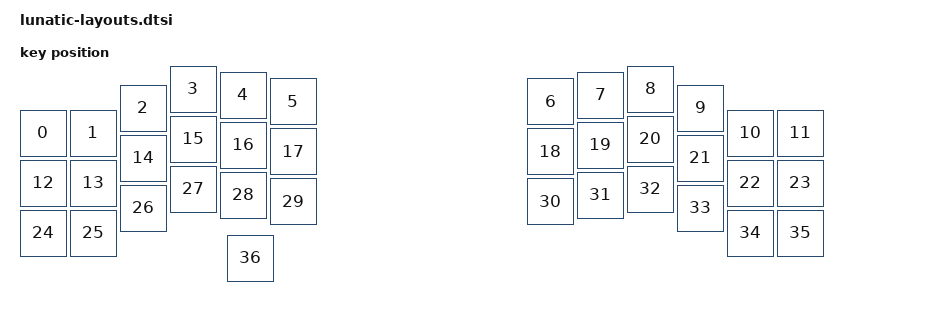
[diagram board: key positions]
#include <physical_layouts.dtsi>

/ {
    physical_layout: physical_layout_0 {
        compatible = "zmk,physical-layout";
        display-name = "lunatic";

        // kscan = <&kscan0>;
        // transform = <&matrix_transform0>;

        studio-config {
        compatible = "zmk,studio-config";
        };

        keys  //                     w   h    x    y     rot    rx    ry
            = <&key_physical_attrs 100 100    0   88       0     0    88>
            , <&key_physical_attrs 100 100  100   88       0   100    88>
            , <&key_physical_attrs 100 100  200   38       0   200    38>
            , <&key_physical_attrs 100 100  300    0       0   300     0>
            , <&key_physical_attrs 100 100  400   12       0   400    12>
            , <&key_physical_attrs 100 100  500   25       0   500    25>
            , <&key_physical_attrs 100 100 1015   25       0  1015    25>
            , <&key_physical_attrs 100 100 1115   12       0  1115    12>
            , <&key_physical_attrs 100 100 1215    0       0  1215     0>
            , <&key_physical_attrs 100 100 1315   38       0  1315    38>
            , <&key_physical_attrs 100 100 1415   88       0  1415    88>
            , <&key_physical_attrs 100 100 1515   88       0  1515    88>
            , <&key_physical_attrs 100 100    0  188       0     0   188>
            , <&key_physical_attrs 100 100  100  188       0   100   188>
            , <&key_physical_attrs 100 100  200  138       0   200   138>
            , <&key_physical_attrs 100 100  300  100       0   300   100>
            , <&key_physical_attrs 100 100  400  112       0   400   112>
            , <&key_physical_attrs 100 100  500  125       0   500   125>
            , <&key_physical_attrs 100 100 1015  125       0  1015   125>
            , <&key_physical_attrs 100 100 1115  112       0  1115   112>
            , <&key_physical_attrs 100 100 1215  100       0  1215   100>
            , <&key_physical_attrs 100 100 1315  138       0  1315   138>
            , <&key_physical_attrs 100 100 1415  188       0  1415   188>
            , <&key_physical_attrs 100 100 1515  188       0  1515   188>
            , <&key_physical_attrs 100 100    0  288       0     0   288>
            , <&key_physical_attrs 100 100  100  288       0   100   288>
            , <&key_physical_attrs 100 100  200  238       0   200   238>
            , <&key_physical_attrs 100 100  300  200       0   300   200>
            , <&key_physical_attrs 100 100  400  212       0   400   212>
            , <&key_physical_attrs 100 100  500  225       0   500   225>
            , <&key_physical_attrs 100 100 1015  225       0  1015   225>
            , <&key_physical_attrs 100 100 1115  212       0  1115   212>
            , <&key_physical_attrs 100 100 1215  200       0  1215   200>
            , <&key_physical_attrs 100 100 1315  238       0  1315   238>
            , <&key_physical_attrs 100 100 1415  288       0  1415   288>
            , <&key_physical_attrs 100 100 1515  288       0  1515   288>
            , <&key_physical_attrs 100 100  415  338       0   415   338>
            , <&key_physical_attrs 100 100  600  233    1000 (-50)(-100)>
            , <&key_physical_attrs 100 100  765   98    2000 (-50)(-100)>
            , <&key_physical_attrs 100 100  750   98 (-2000)  1665(-100)>
            , <&key_physical_attrs 100 100  915  233 (-1000)  1665(-100)>
            ;
    };
};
